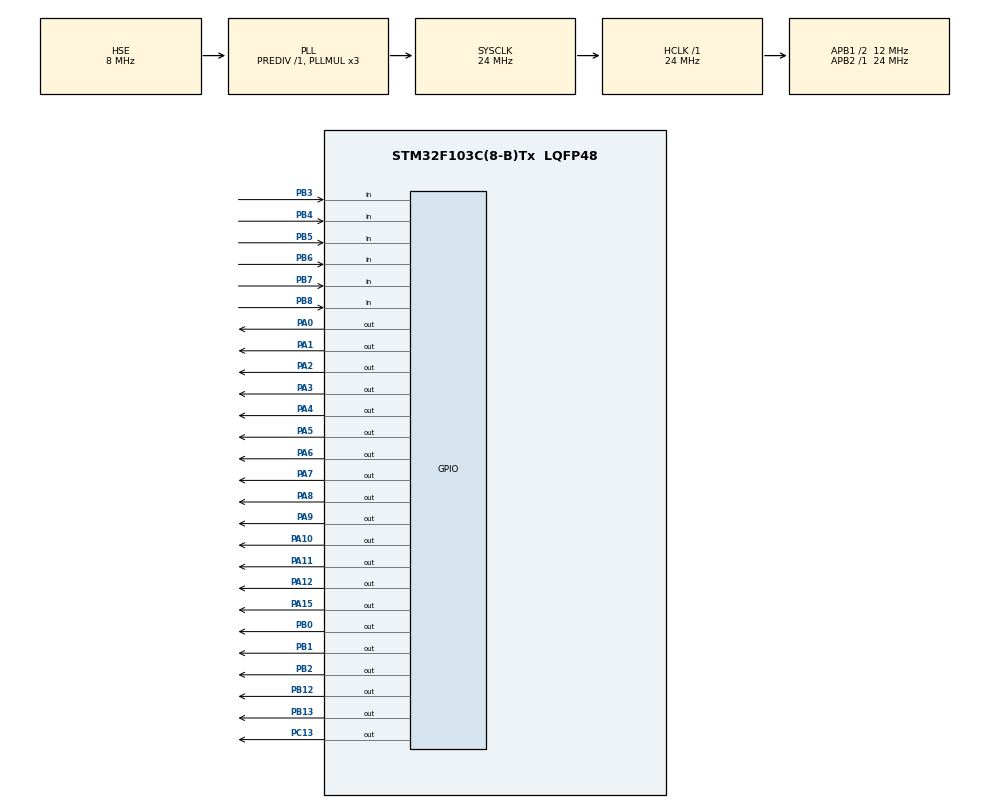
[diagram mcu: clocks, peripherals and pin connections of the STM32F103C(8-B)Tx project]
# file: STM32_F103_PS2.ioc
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Mcu.Family=STM32F1
Mcu.Name=STM32F103C(8-B)Tx
Mcu.Package=LQFP48
NVIC.PriorityGroup=NVIC_PRIORITYGROUP_4
NVIC.TIM2_IRQn=true\:0\:0\:false\:false\:true\:true\:true\:true
PA0-WKUP.GPIO_ModeDefaultOutputPP=GPIO_MODE_OUTPUT_PP
PA0-WKUP.GPIO_PuPd=GPIO_PULLDOWN
PA0-WKUP.Signal=GPIO_Output
PA1.GPIO_PuPd=GPIO_PULLDOWN
PA1.Signal=GPIO_Output
PA10.GPIO_PuPd=GPIO_PULLDOWN
PA10.Signal=GPIO_Output
PA11.GPIO_PuPd=GPIO_PULLDOWN
PA11.Signal=GPIO_Output
PA12.GPIO_PuPd=GPIO_PULLDOWN
PA12.Signal=GPIO_Output
PA13.Mode=Serial_Wire
PA13.Signal=SYS_JTMS-SWDIO
PA14.Mode=Serial_Wire
PA14.Signal=SYS_JTCK-SWCLK
PA15.GPIO_PuPd=GPIO_PULLDOWN
PA15.Signal=GPIO_Output
PA2.GPIO_PuPd=GPIO_PULLDOWN
PA2.Signal=GPIO_Output
PA3.GPIO_PuPd=GPIO_PULLDOWN
PA3.Signal=GPIO_Output
PA4.GPIO_PuPd=GPIO_PULLDOWN
PA4.Signal=GPIO_Output
PA5.GPIO_PuPd=GPIO_PULLDOWN
PA5.Signal=GPIO_Output
PA6.GPIO_PuPd=GPIO_PULLDOWN
PA6.Signal=GPIO_Output
PA7.GPIO_PuPd=GPIO_PULLDOWN
PA7.Signal=GPIO_Output
PA8.GPIO_PuPd=GPIO_PULLDOWN
PA8.Signal=GPIO_Output
PA9.GPIO_PuPd=GPIO_PULLDOWN
PA9.Signal=GPIO_Output
PB0.GPIO_PuPd=GPIO_PULLDOWN
PB0.Signal=GPIO_Output
PB1.GPIO_PuPd=GPIO_PULLDOWN
PB1.Signal=GPIO_Output
PB12.GPIO_ModeDefaultOutputPP=GPIO_MODE_OUTPUT_OD
PB12.GPIO_PuPd=GPIO_NOPULL
PB12.GPIO_Speed=GPIO_SPEED_FREQ_LOW
PB12.PinState=GPIO_PIN_RESET
PB12.Signal=GPIO_Output
PB13.GPIO_ModeDefaultOutputPP=GPIO_MODE_OUTPUT_OD
PB13.GPIO_PuPd=GPIO_NOPULL
PB13.GPIO_Speed=GPIO_SPEED_FREQ_LOW
PB13.PinState=GPIO_PIN_RESET
PB13.Signal=GPIO_Output
PB2.GPIO_PuPd=GPIO_PULLDOWN
PB2.Signal=GPIO_Output
PB3.GPIO_PuPd=GPIO_PULLDOWN
PB3.Signal=GPIO_Input
PB4.GPIO_PuPd=GPIO_PULLDOWN
PB4.Signal=GPIO_Input
PB5.GPIO_PuPd=GPIO_PULLDOWN
PB5.Signal=GPIO_Input
PB6.GPIO_PuPd=GPIO_PULLDOWN
PB6.Signal=GPIO_Input
PB7.GPIO_PuPd=GPIO_PULLDOWN
PB7.Signal=GPIO_Input
PB8.GPIO_PuPd=GPIO_PULLDOWN
PB8.Signal=GPIO_Input
PC13-TAMPER-RTC.Signal=GPIO_Output
PD0-OSC_IN.Mode=HSE-External-Oscillator
PD0-OSC_IN.Signal=RCC_OSC_IN
PD1-OSC_OUT.Mode=HSE-External-Oscillator
PD1-OSC_OUT.Signal=RCC_OSC_OUT
ProjectManager.HeapSize=0x200
ProjectManager.StackSize=0x400
ProjectManager.TargetToolchain=STM32CubeIDE
RCC.AHBFreq_Value=24000000
RCC.APB1CLKDivider=RCC_HCLK_DIV2
RCC.APB1Freq_Value=12000000
RCC.APB1TimFreq_Value=24000000
RCC.APB2Freq_Value=24000000
RCC.APB2TimFreq_Value=24000000
RCC.HCLKFreq_Value=24000000
RCC.PLLMUL=RCC_PLL_MUL3
RCC.PLLSourceVirtual=RCC_PLLSOURCE_HSE
RCC.SYSCLKFreq_VALUE=24000000
RCC.SYSCLKSource=RCC_SYSCLKSOURCE_PLLCLK
RCC.USBFreq_Value=24000000
TIM1.AutoReloadPreload=TIM_AUTORELOAD_PRELOAD_ENABLE
TIM1.Period=65535
TIM1.Prescaler=95
TIM2.Period=99
TIM2.Prescaler=2399
VP_TIM1_VS_ClockSourceINT.Mode=Internal
VP_TIM2_VS_ClockSourceINT.Mode=Internal
board=custom

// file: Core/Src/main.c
/* USER CODE BEGIN Header */
/**
  ******************************************************************************
  * @file           : main.c
  * @brief          : Main program body
  ******************************************************************************
  * @attention
  *
  * Copyright (c) 2025 STMicroelectronics.
  * All rights reserved.
  *
  * This software is licensed under terms that can be found in the LICENSE file
  * in the root directory of this software component.
  * If no LICENSE file comes with this software, it is provided AS-IS.
  *
  ******************************************************************************
  */
/* USER CODE END Header */
#include "main.h"

/* USER CODE BEGIN Includes */
#include "ps2.h"
#include "keyboard.h"
/* USER CODE END Includes */

TIM_HandleTypeDef htim1;
TIM_HandleTypeDef htim2;

/* USER CODE BEGIN PV */
PS2_HandleTypeDef ps2;
Keyboard_HandleTypeDef key;
/* USER CODE END PV */

void SystemClock_Config(void);
static void MX_GPIO_Init(void);
static void MX_TIM1_Init(void);
static void MX_TIM2_Init(void);
/* USER CODE BEGIN PFP */
void delay_us(uint16_t time);
/* USER CODE END PFP */

/* USER CODE BEGIN 0 */
uint16_t column_pin[14] = {GPIO_PIN_0, GPIO_PIN_1, GPIO_PIN_2, GPIO_PIN_3, GPIO_PIN_4,
						   GPIO_PIN_5, GPIO_PIN_6, GPIO_PIN_7, GPIO_PIN_8, GPIO_PIN_9,
						   GPIO_PIN_10, GPIO_PIN_11, GPIO_PIN_12, GPIO_PIN_15};
uint16_t row_pin[6] = {GPIO_PIN_3, GPIO_PIN_4, GPIO_PIN_5, GPIO_PIN_6, GPIO_PIN_7, GPIO_PIN_8};

// 2D array to house key scan codes of key matrix (as well as each code's parity and stop bit in the 2nd-byte)
const uint32_t KEY_SCAN_CODES[14][6] = {
    { 0x0314, 0x0312, 0x0258, 0x020d, 0x020e, 0x0276 },         // { L_CTRL, L_SHFT, CAPS, TAB, B_T, ESC },
    { 0xe0021f, 0x021a, 0x021c, 0x0215, 0x0216, 0x00 },         // { WIN, Z, A, Q, R_1, 0 },
    { 0x0311, 0x0322, 0x031b, 0x031d, 0x031e, 0x0305 },         // { L_ALT, X, S, W, R_2, F_1 },
    { 0x00, 0x0321, 0x0223, 0x0324, 0x0226, 0x0306 },           // { 0, C, D, E, R_3, F_2 },
    { 0x00, 0x022a, 0x032b, 0x032d, 0x0225, 0x0204 },           // { 0, V, F, R, R_4, F_3 },
    { 0x00, 0x0232, 0x0234, 0x022c, 0x032e, 0x030c },           // { 0, BB, G, T, R_5, F_4 },
    { 0x0229, 0x0231, 0x0333, 0x0335, 0x0336, 0x00 },           // { SPACE, N, H, Y, R_6, 0 },
    { 0x00, 0x033a, 0x023b, 0x033c, 0x023d, 0x0303 },           // { 0, M, J, U, R_7, F_5 },
    { 0x00, 0x0341, 0x0342, 0x0243, 0x023e, 0x020b },           // { 0, COMMA, K, I, R_8, F_6 },
    { 0xe00311, 0x0249, 0x034b, 0x0344, 0x0246, 0x0283 },       // { R_ALT, PER, L, O, R_9, F_7 },
    { 0xe00327, 0x024a, 0x024c, 0x034d, 0x0245, 0x030a },       // { WIFN, B_SLA, S_COL, PP, R_0, F_8 },
    { 0xe0022f, 0x00, 0x0252, 0x0254, 0x034e, 0x0201 },         // { MENUS, 0,  F_T, L_BRAK, SUB, F_9 },
    { 0x00, 0x00, 0x0378, 0x025b, 0x0355, 0x0309 },             // { 0, 0, F_11, R_BRAK, EQU, F_10 },
    { 0xe00314, 0x0359, 0x035a, 0x025d, 0x0366, 0x0207 }        // { R_CTRL, R_SHFT, ENTER, F_SLA, BCKSP, F_12 }
};
unsigned int  LAST_BYTE = 0x00;   // for keeping track of last byte sent to host (for retransmission request)
unsigned char EN = 1;         // for enabling/disabling keyscanning
unsigned char REPEAT_RATE = 50;   // for the rate at which a keycode is repeated (1000 / REPEAT_RATE * 10 hertz or cps)
unsigned char REPEAT_DELAY = 100; // for delay before a pressed key starts repeating (REPEAT_DELAY * 10 milliseconds)
unsigned char ELAPSED_TIME = 0;   // for counting intervals of 10ms created by Timer 2 to keep track of when to repeat keycodes

unsigned char keyStamps[14][6];
uint8_t i = 0, j = 0;
uint32_t buffer = 0;

void HAL_TIM_PeriodElapsedCallback(TIM_HandleTypeDef *htim) {
    if (htim->Instance == TIM2) {
        ELAPSED_TIME++;
        if (ELAPSED_TIME > 127)
            ELAPSED_TIME = 0;
    }
    __HAL_TIM_CLEAR_FLAG(&htim2, TIM_FLAG_UPDATE);
}
/* USER CODE END 0 */

int main(void)
{

  /* MCU Configuration--------------------------------------------------------*/

  /* Reset of all peripherals, Initializes the Flash interface and the Systick. */
  HAL_Init();

  /* Configure the system clock */
  SystemClock_Config();

  /* Initialize all configured peripherals */
  MX_GPIO_Init();
  MX_TIM1_Init();
  MX_TIM2_Init();
  /* USER CODE BEGIN 2 */
  PS2_Init(&ps2, GPIOB, GPIO_PIN_12, GPIO_PIN_13);
  Keyboard_Init(&key, GPIOA, GPIOB, 14, 6);
  HAL_TIM_Base_Start(&htim1);
  HAL_TIM_Base_Start_IT(&htim2);

  /* USER CODE END 2 */

  /* Infinite loop */
  while (1)
  {

    /* USER CODE BEGIN 3 */
	Key_Check(&ps2, &key, column_pin, row_pin);
  }
  /* USER CODE END 3 */
}

void SystemClock_Config(void)
{
  RCC_OscInitTypeDef RCC_OscInitStruct = {0};
  RCC_ClkInitTypeDef RCC_ClkInitStruct = {0};

  /** Initializes the RCC Oscillators according to the specified parameters
  * in the RCC_OscInitTypeDef structure.
  */
  RCC_OscInitStruct.OscillatorType = RCC_OSCILLATORTYPE_HSE;
  RCC_OscInitStruct.HSEState = RCC_HSE_ON;
  RCC_OscInitStruct.HSEPredivValue = RCC_HSE_PREDIV_DIV1;
  RCC_OscInitStruct.HSIState = RCC_HSI_ON;
  RCC_OscInitStruct.PLL.PLLState = RCC_PLL_ON;
  RCC_OscInitStruct.PLL.PLLSource = RCC_PLLSOURCE_HSE;
  RCC_OscInitStruct.PLL.PLLMUL = RCC_PLL_MUL3;
  if (HAL_RCC_OscConfig(&RCC_OscInitStruct) != HAL_OK)
  {
    Error_Handler();
  }

  /** Initializes the CPU, AHB and APB buses clocks
  */
  RCC_ClkInitStruct.ClockType = RCC_CLOCKTYPE_HCLK|RCC_CLOCKTYPE_SYSCLK
                              |RCC_CLOCKTYPE_PCLK1|RCC_CLOCKTYPE_PCLK2;
  RCC_ClkInitStruct.SYSCLKSource = RCC_SYSCLKSOURCE_PLLCLK;
  RCC_ClkInitStruct.AHBCLKDivider = RCC_SYSCLK_DIV1;
  RCC_ClkInitStruct.APB1CLKDivider = RCC_HCLK_DIV2;
  RCC_ClkInitStruct.APB2CLKDivider = RCC_HCLK_DIV1;

  if (HAL_RCC_ClockConfig(&RCC_ClkInitStruct, FLASH_LATENCY_0) != HAL_OK)
  {
    Error_Handler();
  }
}

static void MX_TIM1_Init(void)
{

  TIM_ClockConfigTypeDef sClockSourceConfig = {0};
  TIM_MasterConfigTypeDef sMasterConfig = {0};

  htim1.Instance = TIM1;
  htim1.Init.Prescaler = 95;
  htim1.Init.CounterMode = TIM_COUNTERMODE_UP;
  htim1.Init.Period = 65535;
  htim1.Init.ClockDivision = TIM_CLOCKDIVISION_DIV1;
  htim1.Init.RepetitionCounter = 0;
  htim1.Init.AutoReloadPreload = TIM_AUTORELOAD_PRELOAD_ENABLE;
  if (HAL_TIM_Base_Init(&htim1) != HAL_OK)
  {
    Error_Handler();
  }
  sClockSourceConfig.ClockSource = TIM_CLOCKSOURCE_INTERNAL;
  if (HAL_TIM_ConfigClockSource(&htim1, &sClockSourceConfig) != HAL_OK)
  {
    Error_Handler();
  }
  sMasterConfig.MasterOutputTrigger = TIM_TRGO_RESET;
  sMasterConfig.MasterSlaveMode = TIM_MASTERSLAVEMODE_DISABLE;
  if (HAL_TIMEx_MasterConfigSynchronization(&htim1, &sMasterConfig) != HAL_OK)
  {
    Error_Handler();
  }

}

static void MX_TIM2_Init(void)
{

  TIM_ClockConfigTypeDef sClockSourceConfig = {0};
  TIM_MasterConfigTypeDef sMasterConfig = {0};

  htim2.Instance = TIM2;
  htim2.Init.Prescaler = 2399;
  htim2.Init.CounterMode = TIM_COUNTERMODE_UP;
  htim2.Init.Period = 99;
  htim2.Init.ClockDivision = TIM_CLOCKDIVISION_DIV1;
  htim2.Init.AutoReloadPreload = TIM_AUTORELOAD_PRELOAD_DISABLE;
  if (HAL_TIM_Base_Init(&htim2) != HAL_OK)
  {
    Error_Handler();
  }
  sClockSourceConfig.ClockSource = TIM_CLOCKSOURCE_INTERNAL;
  if (HAL_TIM_ConfigClockSource(&htim2, &sClockSourceConfig) != HAL_OK)
  {
    Error_Handler();
  }
  sMasterConfig.MasterOutputTrigger = TIM_TRGO_RESET;
  sMasterConfig.MasterSlaveMode = TIM_MASTERSLAVEMODE_DISABLE;
  if (HAL_TIMEx_MasterConfigSynchronization(&htim2, &sMasterConfig) != HAL_OK)
  {
    Error_Handler();
  }

}

static void MX_GPIO_Init(void)
{
  GPIO_InitTypeDef GPIO_InitStruct = {0};

  /* GPIO Ports Clock Enable */
  __HAL_RCC_GPIOC_CLK_ENABLE();
  __HAL_RCC_GPIOD_CLK_ENABLE();
  __HAL_RCC_GPIOA_CLK_ENABLE();
  __HAL_RCC_GPIOB_CLK_ENABLE();

  /*Configure GPIO pin Output Level */
  HAL_GPIO_WritePin(GPIOC, GPIO_PIN_13, GPIO_PIN_RESET);

  /*Configure GPIO pin Output Level */
  HAL_GPIO_WritePin(GPIOA, GPIO_PIN_0|GPIO_PIN_1|GPIO_PIN_2|GPIO_PIN_3
                          |GPIO_PIN_4|GPIO_PIN_5|GPIO_PIN_6|GPIO_PIN_7
                          |GPIO_PIN_8|GPIO_PIN_9|GPIO_PIN_10|GPIO_PIN_11
                          |GPIO_PIN_12|GPIO_PIN_15, GPIO_PIN_RESET);

  /*Configure GPIO pin Output Level */
  HAL_GPIO_WritePin(GPIOB, GPIO_PIN_0|GPIO_PIN_1|GPIO_PIN_2|GPIO_PIN_12
                          |GPIO_PIN_13, GPIO_PIN_RESET);

  /*Configure GPIO pin : PC13 */
  GPIO_InitStruct.Pin = GPIO_PIN_13;
  GPIO_InitStruct.Mode = GPIO_MODE_OUTPUT_PP;
  GPIO_InitStruct.Pull = GPIO_NOPULL;
  GPIO_InitStruct.Speed = GPIO_SPEED_FREQ_LOW;
  HAL_GPIO_Init(GPIOC, &GPIO_InitStruct);

  /*Configure GPIO pins : PA0 PA1 PA2 PA3
                           PA4 PA5 PA6 PA7
                           PA8 PA9 PA10 PA11
                           PA12 PA15 */
  GPIO_InitStruct.Pin = GPIO_PIN_0|GPIO_PIN_1|GPIO_PIN_2|GPIO_PIN_3
                          |GPIO_PIN_4|GPIO_PIN_5|GPIO_PIN_6|GPIO_PIN_7
                          |GPIO_PIN_8|GPIO_PIN_9|GPIO_PIN_10|GPIO_PIN_11
                          |GPIO_PIN_12|GPIO_PIN_15;
  GPIO_InitStruct.Mode = GPIO_MODE_OUTPUT_PP;
  GPIO_InitStruct.Pull = GPIO_PULLDOWN;
  GPIO_InitStruct.Speed = GPIO_SPEED_FREQ_LOW;
  HAL_GPIO_Init(GPIOA, &GPIO_InitStruct);

  /*Configure GPIO pins : PB0 PB1 PB2 */
  GPIO_InitStruct.Pin = GPIO_PIN_0|GPIO_PIN_1|GPIO_PIN_2;
  GPIO_InitStruct.Mode = GPIO_MODE_OUTPUT_PP;
  GPIO_InitStruct.Pull = GPIO_PULLDOWN;
  GPIO_InitStruct.Speed = GPIO_SPEED_FREQ_LOW;
  HAL_GPIO_Init(GPIOB, &GPIO_InitStruct);

  /*Configure GPIO pins : PB12 PB13 */
  GPIO_InitStruct.Pin = GPIO_PIN_12|GPIO_PIN_13;
  GPIO_InitStruct.Mode = GPIO_MODE_OUTPUT_OD;
  GPIO_InitStruct.Pull = GPIO_NOPULL;
  GPIO_InitStruct.Speed = GPIO_SPEED_FREQ_LOW;
  HAL_GPIO_Init(GPIOB, &GPIO_InitStruct);

  /*Configure GPIO pins : PB3 PB4 PB5 PB6
                           PB7 PB8 */
  GPIO_InitStruct.Pin = GPIO_PIN_3|GPIO_PIN_4|GPIO_PIN_5|GPIO_PIN_6
                          |GPIO_PIN_7|GPIO_PIN_8;
  GPIO_InitStruct.Mode = GPIO_MODE_INPUT;
  GPIO_InitStruct.Pull = GPIO_PULLDOWN;
  HAL_GPIO_Init(GPIOB, &GPIO_InitStruct);

  /* USER CODE BEGIN MX_GPIO_Init_2 */
  HAL_GPIO_WritePin(GPIOB, GPIO_PIN_12|GPIO_PIN_13, GPIO_PIN_SET);
  /* USER CODE END MX_GPIO_Init_2 */
}

/* USER CODE BEGIN 4 */
void delay_us(uint16_t time) {
	uint16_t start = __HAL_TIM_GET_COUNTER(&htim1);

	while((uint16_t)(__HAL_TIM_GET_COUNTER(&htim1) - start) < time);
}
/* USER CODE END 4 */

void Error_Handler(void)
{
  __disable_irq();
  while (1)
  {
  }
}
